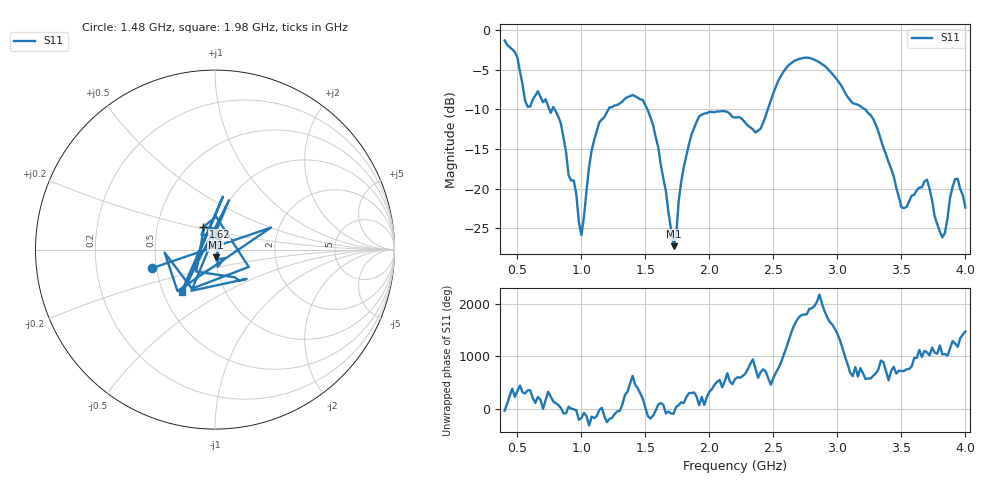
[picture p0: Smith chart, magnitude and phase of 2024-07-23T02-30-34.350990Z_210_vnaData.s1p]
!Created with skrf (http://scikit-rf.org).
# Hz S RI R 50.0
!freq ReS11 ImS11
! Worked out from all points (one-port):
!   181 points, 400 MHz to 4 GHz, reference 50 ohm
!   lowest |S11| = -27.3 dB at 1.72 GHz (marker M1), VSWR 1.09, Z = 50.3 - j4.33 ohm
!   |S11| at or under -10 dB: 790.9 MHz to 1.211 GHz (420.2 MHz wide, 42 % of centre); 1.516 GHz to 2.456 GHz (939.9 MHz wide, 47.3 % of centre); 3.218 GHz to end of sweep (the widest 3 of 4)
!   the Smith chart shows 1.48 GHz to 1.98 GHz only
!   S11 on the Smith chart (normalised r, x): 1.48 GHz: 0.47, -0.11; 1.62 GHz: 0.85, +0.22; 1.98 GHz: 0.62, -0.32
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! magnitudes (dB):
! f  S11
! 400 MHz  -1.3
! 500 MHz  -3.5
! 580 MHz  -9.7
! 660 MHz  -7.7
! 860 MHz  -13.6
! 960 MHz  -20.7
! 1 GHz  -25.9
! 1.08 GHz  -15.2
! 1.14 GHz  -11.6
! 1.3 GHz  -9.2
! 1.48 GHz  -8.8
! 1.62 GHz  -17.0
! 1.72 GHz  -27.3
! 1.76 GHz  -21.6
! 1.86 GHz  -13.2
! 1.98 GHz  -10.5
! 2.2 GHz  -11.0
! 2.4 GHz  -12.4
! 2.66 GHz  -3.9
! 2.9 GHz  -4.5
! 3.1 GHz  -8.8
! 3.28 GHz  -11.2
! 3.5 GHz  -22.3
! 3.56 GHz  -21.6
! 3.7 GHz  -18.9
! 3.82 GHz  -26.2
! 3.92 GHz  -18.8
! 4 GHz  -22.4
